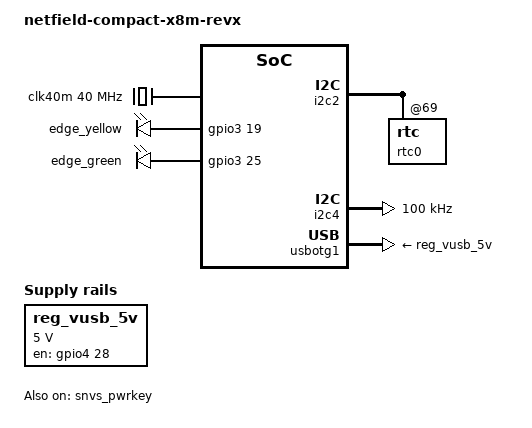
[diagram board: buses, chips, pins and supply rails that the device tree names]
/dts-v1/;

#include "../compulab/sb-iotgimx8.dts"

/ {
	model = "netfield-compact-x8m-revx";

	aliases {
		ethernet0 = &fec1;
		i2c0 = &i2c1;
		i2c1 = &i2c2;
		i2c2 = &i2c3;
		i2c3 = &i2c4;
		serial0 = &uart1_switchable;
		serial1 = &uart2;
		serial2 = &uart3;
		serial3 = &uart4;
		mmc0 = &usdhc2; /* SD-Card */
		mmc1 = &usdhc3; /* eMMC */
		gpio0 = &gpio1;
		gpio1 = &gpio2;
		gpio2 = &gpio3;
		gpio3 = &gpio4;
		gpio4 = &gpio5;
		spi0 = &flexspi;
		usb0 = &usbotg1;
		usb1 = &usbotg2;
		video0 = &lcdif;
		rtc0 = &rtc0;
		rtc1 = &snvs_rtc;

	};

	clocks {
		#address-cells = <1>;
		#size-cells = <0>;
		clk40m: clk@1 {
			compatible = "fixed-clock";
			reg = <1>;
			#clock-cells = <0>;
			clock-frequency = <40000000>;
			clock-output-names = "clk40m";
		};
	};

	leds {
		compatible = "gpio-leds";
		pinctrl-names = "default";
		pinctrl-0 = <&pinctrl_gpio_device_led>;
		edge-yellow {
			label = "edge_yellow";
			gpios = <&gpio3 19 GPIO_ACTIVE_HIGH>;
			linux,default-trigger = "none";
			default-state = "off";
		};
		edge-green {
			label = "edge_green";
			gpios = <&gpio3 25 GPIO_ACTIVE_HIGH>;
			linux,default-trigger = "none";
			default-state = "off";
		};
	};

	reg_vusb_5v: regulator-usdhc2 {
		pinctrl-names = "default";
		pinctrl-0 = <&pinctrl_vbus_gpio>;

		compatible = "regulator-fixed";
		regulator-name = "VUSB_5V";
		regulator-min-microvolt = <5000000>;
		regulator-max-microvolt = <5000000>;
		gpio = <&gpio4 28 GPIO_ACTIVE_HIGH>;
		regulator-boot-on;
		enable-active-high;
	};
};

&iomuxc {
	sb-iotgimx8 {
		pinctrl_gpio_device_led: gpio_device_ledgrp {
			fsl,pins = <
				MX8MM_IOMUXC_SAI5_RXFS_GPIO3_IO19	0x116
				MX8MM_IOMUXC_SAI5_MCLK_GPIO3_IO25	0x116
			>;
		};

		pinctrl_i2c4: i2c4grp {
			fsl,pins = <
				MX8MM_IOMUXC_I2C4_SCL_I2C4_SCL          0x400001c3
				MX8MM_IOMUXC_I2C4_SDA_I2C4_SDA          0x400001c3
			>;
		};

		pinctrl_ecspi2: ecspi2grp {
			fsl,pins = <
				MX8MM_IOMUXC_ECSPI2_SCLK_ECSPI2_SCLK    0x02
				MX8MM_IOMUXC_ECSPI2_MOSI_ECSPI2_MOSI    0x02
				MX8MM_IOMUXC_ECSPI2_MISO_ECSPI2_MISO    0x102
			>;
		};

		pinctrl_ecspi2_cs: ecspi2_csgrp {
			fsl,pins = <
				MX8MM_IOMUXC_ECSPI2_SS0_GPIO5_IO13      0x40000
			>;
		};

		pinctrl_ecspi3: ecspi3grp {
			fsl,pins = <
				MX8MM_IOMUXC_UART1_RXD_ECSPI3_SCLK      0x02
				MX8MM_IOMUXC_UART1_TXD_ECSPI3_MOSI      0x02
				MX8MM_IOMUXC_UART2_RXD_ECSPI3_MISO      0x102
			>;
		};

		pinctrl_ecspi3_cs: ecspi3_csgrp {
			fsl,pins = <
				MX8MM_IOMUXC_UART2_TXD_GPIO5_IO25       0x40000
			>;
		};


		pinctrl_can0: can0grp {
			fsl,pins = <
				MX8MM_IOMUXC_SAI3_TXC_GPIO5_IO0         0x00
			>;
		};

		pinctrl_can0_term: can0_termgrp {
			fsl,pins = <
				MX8MM_IOMUXC_NAND_DATA02_GPIO3_IO8      0x00
			>;
		};

		pinctrl_can1: can1grp {
			fsl,pins = <
				MX8MM_IOMUXC_UART4_RXD_GPIO5_IO28       0x00
			>;
		};

		pinctrl_can1_term: can_term1grp {
			fsl,pins = <
				MX8MM_IOMUXC_NAND_DATA03_GPIO3_IO9      0x00
			>;
		};

		pinctrl_uart2: uart2grp {
			fsl,pins = <
				MX8MM_IOMUXC_SAI3_TXFS_UART2_DCE_RX     0x140
				MX8MM_IOMUXC_SAI3_TXC_UART2_DTE_TX      0x140
			>;
		};

		pinctrl_uart4: uart4grp {
			fsl,pins = <
				MX8MM_IOMUXC_UART4_RXD_UART4_DCE_RX     0x140
				MX8MM_IOMUXC_UART4_TXD_UART4_DCE_TX     0x140
			>;
		};

		pinctrl_tpm0: tpm0grp {
			fsl,pins = <
				MX8MM_IOMUXC_SAI3_TXFS_GPIO4_IO31       0x0
			>;
		};

		pinctrl_tpm1: tpm1grp {
			fsl,pins = <
				MX8MM_IOMUXC_UART4_RXD_GPIO5_IO28       0x0
			>;
		};

		/* overwrite usdhc2grp setup by sb-iotgimx8.dts, sd-card access with previous setup fails with IO error */
		pinctrl_usdhc2: usdhc2grp {
			fsl,pins = <
				MX8MM_IOMUXC_SD2_CLK_USDHC2_CLK         0x190
				MX8MM_IOMUXC_SD2_CMD_USDHC2_CMD         0x1d0
				MX8MM_IOMUXC_SD2_DATA0_USDHC2_DATA0     0x1d0
				MX8MM_IOMUXC_SD2_DATA1_USDHC2_DATA1     0x1d0
				MX8MM_IOMUXC_SD2_DATA2_USDHC2_DATA2     0x1d0
				MX8MM_IOMUXC_SD2_DATA3_USDHC2_DATA3     0x1d0
				MX8MM_IOMUXC_GPIO1_IO04_USDHC2_VSELECT  0x1d0
			>;
		};
	};
};

&i2c2 {
	rtc0: rtc@69 {
	};
};

&i2c4 {
	clock-frequency = <100000>;
	pinctrl-names = "default";
	pinctrl-0 = <&pinctrl_i2c4>;
	status = "okay";
};

&pcie0 {
	ext_osc = <0>;
};

// NOTE: u-boot only recognizes "fsl,imx27-usb" which is missing in kernel device-tree
&usbotg1 {
	vbus-supply = <&reg_vusb_5v>;
	compatible = "fsl,imx8mm-usb", "fsl,imx7d-usb", "fsl,imx27-usb";
};

&usbotg2 {
	compatible = "fsl,imx8mm-usb", "fsl,imx7d-usb", "fsl,imx27-usb";
};

/* -------------------------------------------------------------------------- */
// NOTE:
//   This enables the uart1 mode selection (RS485/RS232) by device-tree overlays.

/ {
	/delete-node/ regulator-uart1-mode;

	regulator_uart1_mode_rs485: regulator-uart1-mode-rs485 {
		compatible = "regulator-fixed";
		regulator-name = "uart1_mode_rs485";
		regulator-min-microvolt = <3300000>;
		regulator-max-microvolt = <3300000>;
		gpio = <&gpio4 26 GPIO_ACTIVE_HIGH>; //gpio = <&gpio4 26 GPIO_ACTIVE_HIGH>;
		enable-active-high;
		regulator-always-on;
		status = "disabled";
	};
	regulator_uart1_mode_rs232: regulator-uart1-mode-rs232 {
		compatible = "regulator-fixed";
		regulator-name = "uart1_mode_rs232";
		regulator-min-microvolt = <3300000>;
		regulator-max-microvolt = <3300000>;
		gpio = <&gpio4 26 GPIO_ACTIVE_LOW>; //<&gpio4 26 GPIO_ACTIVE_LOW>;
		enable-active-low;
		regulator-always-on;
		status = "disabled";
	};
};

&aips3 {
	/delete-node/ serial@30860000;

	uart1_switchable: serial@30860000 {
		compatible = "fsl,imx8mm-uart", "fsl,imx6q-uart";
		reg = <0x30860000 0x10000>;
		interrupts = <GIC_SPI 26 IRQ_TYPE_LEVEL_HIGH>;
		clocks = <&clk IMX8MM_CLK_UART1_ROOT>, <&clk IMX8MM_CLK_UART1_ROOT>;
		clock-names = "ipg", "per";
		assigned-clocks = <&clk IMX8MM_CLK_UART1>;
		assigned-clock-parents = <&clk IMX8MM_SYS_PLL1_80M>;

		dmas = <&sdma1 22 4 0>, <&sdma1 23 4 0>;
		dma-names = "rx", "tx";

		status = "disabled";
	};
};

&iomuxc {
	sb-iotgimx8 {
		pinctrl_uart1_rs485: uart1grp-rs485 {
			fsl,pins = <
				MX8MM_IOMUXC_SAI2_RXC_UART1_DCE_RX 0x140
				MX8MM_IOMUXC_SAI2_RXFS_UART1_DCE_TX 0x140
				MX8MM_IOMUXC_SAI2_TXFS_GPIO4_IO24 0x140 /* RTS */
				MX8MM_IOMUXC_SAI2_RXD0_UART1_DTE_RTS_B 0x140 /* CTS */
			>;
		};
		pinctrl_uart1_rs232: uart1grp-rs232 {
			fsl,pins = <
				MX8MM_IOMUXC_SAI2_RXC_UART1_DCE_RX	0x140
				MX8MM_IOMUXC_SAI2_RXFS_UART1_DCE_TX	0x140
				MX8MM_IOMUXC_SAI2_TXFS_UART1_DCE_CTS_B 0x140 /* RTS */
				MX8MM_IOMUXC_SAI2_RXD0_UART1_DTE_RTS_B	0x140 /* CTS */
			>;
		};

		pinctrl_vbus_gpio: pinctrl_vbus_gpio {
			fsl,pins = <
				MX8MM_IOMUXC_SAI3_RXFS_GPIO4_IO28	0x140 /* USB_PS_EN */
			>;
		};

		pinctrl_usb9514: usb9514grp {
			fsl,pins = <
				MX8MM_IOMUXC_SAI5_RXD3_GPIO3_IO24       0x140 /* HUB_RSTn */
			>;
		};
	};
};

&snvs_pwrkey {
	status = "okay";
};

/* -------------------------------------------------------------------------- */
